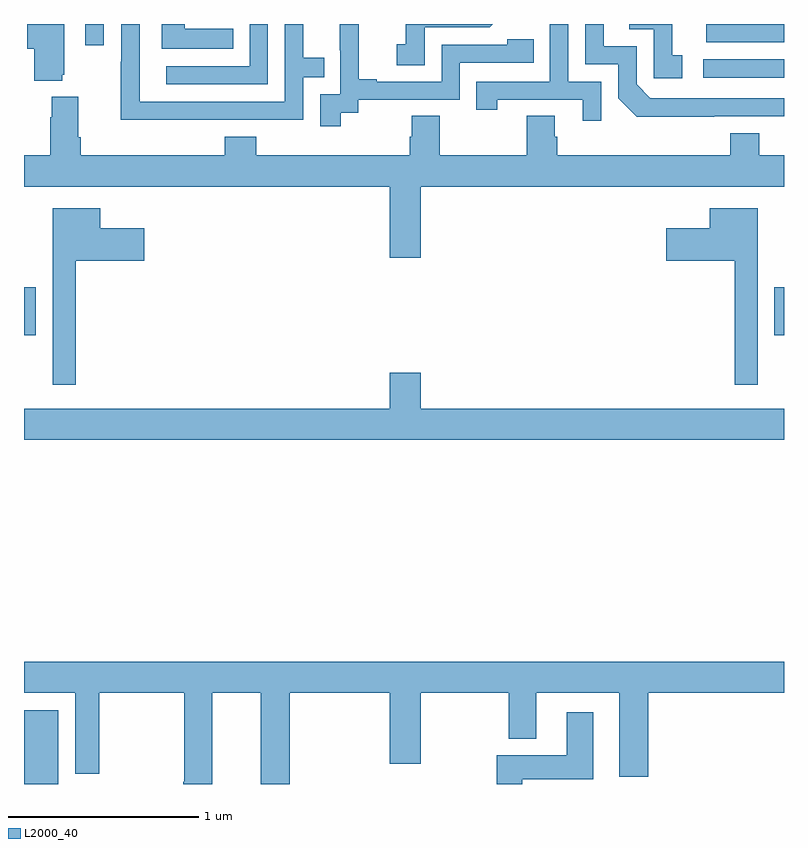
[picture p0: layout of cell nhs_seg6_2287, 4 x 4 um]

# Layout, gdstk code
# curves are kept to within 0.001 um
import gdstk
lib = gdstk.Library(unit=1e-6, precision=1e-09)
def R(c, l, rs):  # rectangles x0, y0, x1, y1
    for r in rs: c.add(gdstk.rectangle(r[:2], r[2:], *l))
def P(c, l, *ps):  # polygons
    for p in ps: c.add(gdstk.Polygon(p, *l))
L2000_40 = (2000, 40)

nhs_seg6_2287 = lib.new_cell('nhs_seg6_2287')
R(nhs_seg6_2287, L2000_40, [(247,969.5,247.18,969.889), (247,971.861,247.063,972.115), (250.949,971.861,251,972.115), (250.575,973.218,251,973.314), (247.323,973.389,247.419,973.5), (250.592,973.403,251,973.5)])
P(nhs_seg6_2287, L2000_40, [(250.038,973.197),(249.864,973.197),(249.864,973.5),(249.768,973.5),(249.768,973.197),(249.379,973.197),(249.379,973.05),(249.49,973.05),(249.49,973.101),(249.941,973.101),(249.941,972.99),(250.038,972.99)],
  [(249.108,973.482),(249.45,973.482),(249.468,973.5),(249.01,973.5),(249.01,973.393),(248.961,973.393),(248.961,973.284),(249.108,973.284)],
  [(248.283,973.5),(248.187,973.5),(248.187,973.278),(247.749,973.278),(247.749,973.182),(248.283,973.182)],
  [(247.202,973.233),(247.213,973.233),(247.213,973.5),(247.016,973.5),(247.016,973.37),(247.055,973.37),(247.055,973.202),(247.202,973.202)],
  [(248.102,973.474),(247.845,973.474),(247.845,973.5),(247.724,973.5),(247.724,973.37),(248.102,973.37)],
  [(247.973,972.996),(248.469,972.996),(248.469,973.221),(248.579,973.221),(248.579,973.322),(248.469,973.322),(248.469,973.5),(248.373,973.5),(248.373,973.092),(247.608,973.092),(247.608,973.5),(247.512,973.5),(247.512,973.301),(247.51,973.301),(247.51,972.995),(247.973,972.995)],
  [(250.465,973.335),(250.412,973.335),(250.412,973.5),(250.185,973.5),(250.185,973.473),(250.314,973.473),(250.314,973.215),(250.465,973.215)],
  [(248.668,973.033),(248.76,973.033),(248.76,973.101),(249.294,973.101),(249.294,973.296),(249.683,973.296),(249.683,973.419),(249.543,973.419),(249.543,973.392),(249.198,973.392),(249.198,973.197),(248.857,973.197),(248.857,973.21),(248.762,973.21),(248.762,973.493),(248.763,973.493),(248.763,973.5),(248.663,973.5),(248.663,973.361),(248.664,973.361),(248.664,973.131),(248.559,973.131),(248.559,972.963),(248.668,972.963)],
  [(250.634,973.014),(251,973.014),(251,973.11),(250.296,973.11),(250.224,973.182),(250.224,973.383),(250.051,973.383),(250.051,973.5),(249.954,973.5),(249.954,973.287),(250.128,973.287),(250.128,973.11),(250.226,973.013)],
  [(249.088,972.644),(251,972.644),(251,972.808),(250.87,972.808),(250.87,972.925),(250.718,972.925),(250.718,972.808),(249.806,972.808),(249.806,972.906),(249.793,972.906),(249.793,973.016),(249.646,973.016),(249.646,972.808),(249.189,972.808),(249.189,973.016),(249.041,973.016),(249.041,972.906),(249.029,972.906),(249.029,972.808),(248.222,972.808),(248.222,972.907),(248.057,972.907),(248.057,972.808),(247.298,972.808),(247.298,972.904),(247.285,972.904),(247.285,973.117),(247.145,973.117),(247.145,973.01),(247.138,973.01),(247.138,972.808),(247,972.808),(247,972.644),(248.924,972.644),(248.924,972.27),(249.088,972.27)],
  [(250.861,972.529),(250.61,972.529),(250.61,972.424),(250.38,972.424),(250.38,972.254),(250.74,972.254),(250.74,971.601),(250.861,971.601)],
  [(247.273,972.254),(247.633,972.254),(247.633,972.424),(247.402,972.424),(247.402,972.529),(247.151,972.529),(247.151,971.601),(247.273,971.601)],
  [(251,971.476),(249.088,971.476),(249.088,971.665),(248.924,971.665),(248.924,971.476),(247,971.476),(247,971.312),(251,971.312)],
  [(247.99,969.98),(248.246,969.98),(248.246,969.5),(248.399,969.5),(248.399,969.98),(248.924,969.98),(248.924,969.606),(249.088,969.606),(249.088,969.98),(249.55,969.98),(249.55,969.737),(249.697,969.737),(249.697,969.98),(250.133,969.98),(250.133,969.539),(250.286,969.539),(250.286,969.98),(251,969.98),(251,970.144),(247,970.144),(247,969.98),(247.271,969.98),(247.271,969.555),(247.395,969.555),(247.395,969.98),(247.843,969.98),(247.843,969.513),(247.838,969.513),(247.838,969.5),(247.99,969.5)],
  [(249.622,969.524),(249.997,969.524),(249.997,969.877),(249.857,969.877),(249.857,969.652),(249.488,969.652),(249.488,969.5),(249.622,969.5)])

lib.write_gds('nhs_seg6_2287.gds')
